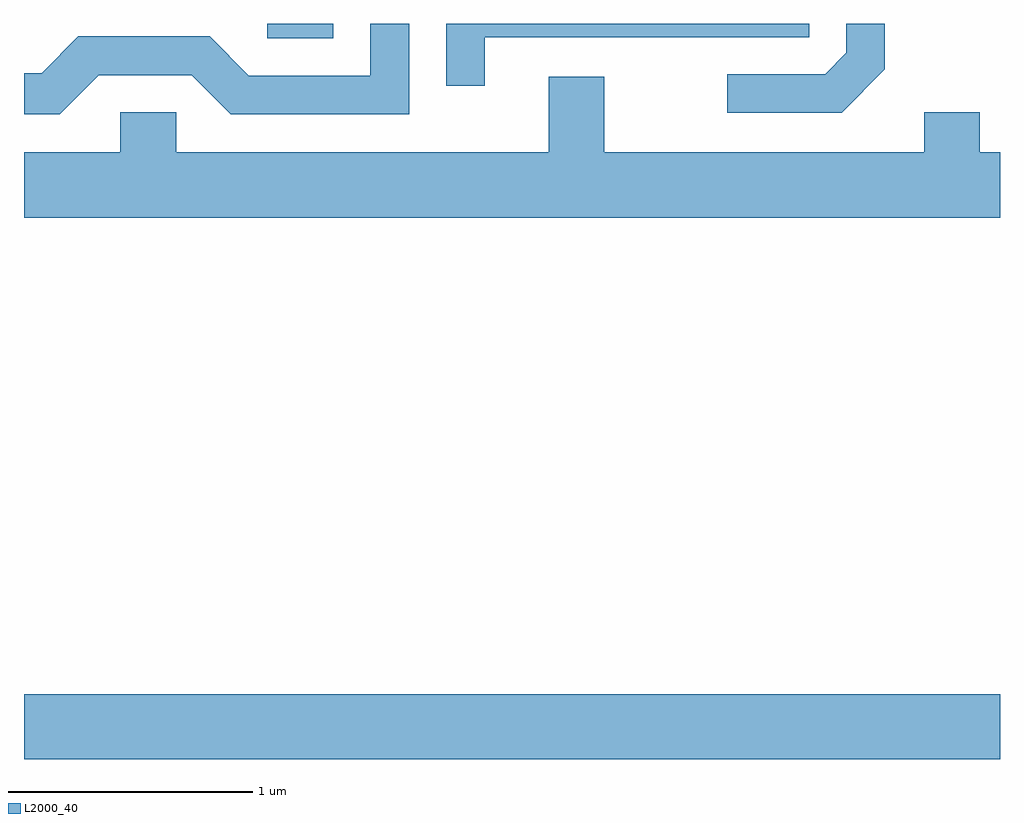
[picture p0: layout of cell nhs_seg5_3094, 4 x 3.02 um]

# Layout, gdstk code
import gdstk
lib = gdstk.Library(unit=1e-6, precision=1e-09)
def R(c, l, rs):  # rectangles x0, y0, x1, y1
    for r in rs: c.add(gdstk.rectangle(r[:2], r[2:], *l))
def P(c, l, *ps):  # polygons
    for p in ps: c.add(gdstk.Polygon(p, *l))
L2000_40 = (2000, 40)

nhs_seg5_3094 = lib.new_cell('nhs_seg5_3094')
R(nhs_seg5_3094, L2000_40, [(277.611,1419.056,281.611,1419.324), (278.608,1422.011,278.879,1422.072)])
P(nhs_seg5_3094, L2000_40, [(281.139,1421.884),(281.139,1422.072),(280.981,1422.072),(280.981,1421.952),(280.894,1421.864),(280.493,1421.864),(280.493,1421.706),(280.962,1421.706)],
  [(279.499,1422.016),(280.829,1422.016),(280.829,1422.072),(279.341,1422.072),(279.341,1421.818),(279.499,1421.818)],
  [(277.917,1421.861),(278.299,1421.861),(278.459,1421.701),(279.189,1421.701),(279.189,1422.072),(279.031,1422.072),(279.031,1421.859),(278.532,1421.859),(278.372,1422.019),(277.834,1422.019),(277.684,1421.869),(277.611,1421.869),(277.611,1421.701),(277.757,1421.701)],
  [(281.611,1421.544),(281.529,1421.544),(281.529,1421.709),(281.301,1421.709),(281.301,1421.544),(279.989,1421.544),(279.989,1421.854),(279.761,1421.854),(279.761,1421.544),(278.234,1421.544),(278.234,1421.709),(278.006,1421.709),(278.006,1421.544),(277.611,1421.544),(277.611,1421.276),(281.611,1421.276)])

lib.write_gds('nhs_seg5_3094.gds')
